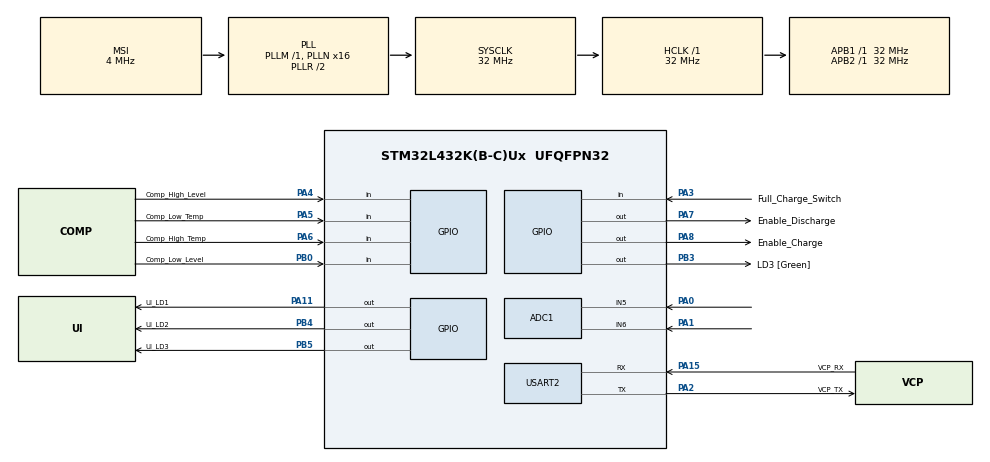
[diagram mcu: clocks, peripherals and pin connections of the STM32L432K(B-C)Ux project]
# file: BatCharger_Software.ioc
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ADC1.Channel-0\#ChannelRegularConversion=ADC_CHANNEL_5
ADC1.NbrOfConversionFlag=1
ADC1.OffsetNumber-0\#ChannelRegularConversion=ADC_OFFSET_NONE
ADC1.Rank-0\#ChannelRegularConversion=1
ADC1.SamplingTime-0\#ChannelRegularConversion=ADC_SAMPLETIME_2CYCLES_5
ADC1.master=1
Mcu.Family=STM32L4
Mcu.Name=STM32L432K(B-C)Ux
Mcu.Package=UFQFPN32
NVIC.PriorityGroup=NVIC_PRIORITYGROUP_4
NVIC.TIM2_IRQn=true\:0\:0\:false\:false\:true\:true\:true\:true
PA0.Signal=ADCx_IN5
PA1.Signal=ADCx_IN6
PA11.GPIO_Label=UI_LD1
PA11.GPIO_ModeDefaultOutputPP=GPIO_MODE_OUTPUT_OD
PA11.GPIO_PuPd=GPIO_NOPULL
PA11.PinState=GPIO_PIN_SET
PA11.Signal=GPIO_Output
PA13\ (JTMS-SWDIO).GPIO_Label=SWDIO
PA13\ (JTMS-SWDIO).Mode=Serial_Wire
PA13\ (JTMS-SWDIO).Signal=SYS_JTMS-SWDIO
PA14\ (JTCK-SWCLK).GPIO_Label=SWCLK
PA14\ (JTCK-SWCLK).Mode=Serial_Wire
PA14\ (JTCK-SWCLK).Signal=SYS_JTCK-SWCLK
PA15\ (JTDI).GPIO_Label=VCP_RX
PA15\ (JTDI).Mode=Asynchronous
PA15\ (JTDI).Signal=USART2_RX
PA2.GPIO_Label=VCP_TX
PA2.Mode=Asynchronous
PA2.Signal=USART2_TX
PA3.GPIO_Label=Full_Charge_Switch
PA3.Signal=GPIO_Input
PA4.GPIO_Label=Comp_High_Level
PA4.Signal=GPIO_Input
PA5.GPIO_Label=Comp_Low_Temp
PA5.Signal=GPIO_Input
PA6.GPIO_Label=Comp_High_Temp
PA6.Signal=GPIO_Input
PA7.GPIO_Label=Enable_Discharge
PA7.Signal=GPIO_Output
PA8.GPIO_Label=Enable_Charge
PA8.Signal=GPIO_Output
PB0.GPIO_Label=Comp_Low_Level
PB0.Signal=GPIO_Input
PB3\ (JTDO-TRACESWO).GPIO_Label=LD3 [Green]
PB3\ (JTDO-TRACESWO).PinState=GPIO_PIN_RESET
PB3\ (JTDO-TRACESWO).Signal=GPIO_Output
PB4\ (NJTRST).GPIO_Label=UI_LD2
PB4\ (NJTRST).GPIO_ModeDefaultOutputPP=GPIO_MODE_OUTPUT_OD
PB4\ (NJTRST).GPIO_PuPd=GPIO_NOPULL
PB4\ (NJTRST).PinState=GPIO_PIN_SET
PB4\ (NJTRST).Signal=GPIO_Output
PB5.GPIO_Label=UI_LD3
PB5.GPIO_ModeDefaultOutputPP=GPIO_MODE_OUTPUT_OD
PB5.GPIO_PuPd=GPIO_NOPULL
PB5.PinState=GPIO_PIN_SET
PB5.Signal=GPIO_Output
PC14-OSC32_IN\ (PC14).Mode=LSE-External-Oscillator
PC14-OSC32_IN\ (PC14).Signal=RCC_OSC32_IN
PC15-OSC32_OUT\ (PC15).Mode=LSE-External-Oscillator
PC15-OSC32_OUT\ (PC15).Signal=RCC_OSC32_OUT
ProjectManager.HeapSize=0x200
ProjectManager.StackSize=0x400
ProjectManager.TargetToolchain=STM32CubeIDE
RCC.ADCFreq_Value=32000000
RCC.AHBFreq_Value=32000000
RCC.APB1Freq_Value=32000000
RCC.APB1TimFreq_Value=32000000
RCC.APB2Freq_Value=32000000
RCC.APB2TimFreq_Value=32000000
RCC.CortexFreq_Value=32000000
RCC.HCLKFreq_Value=32000000
RCC.HSE_VALUE=8000000
RCC.HSI16_VALUE=16000000
RCC.HSI48_VALUE=48000000
RCC.HSI_VALUE=16000000
RCC.MSI_VALUE=4000000
RCC.PLLMUL=RCC_PLLMUL_4
RCC.PLLN=16
RCC.PLLSAI1N=16
RCC.SYSCLKFreq_VALUE=32000000
RCC.SYSCLKSource=RCC_SYSCLKSOURCE_PLLCLK
RCC.USBFreq_Value=32000000
RCC.VCOOutputFreq_Value=64000000
SH.ADCx_IN5.0=ADC1_IN5,IN5-Single-Ended
SH.ADCx_IN6.0=ADC1_IN6,IN6-Single-Ended
TIM2.Period=250
TIM2.Prescaler=32000
USART2.VirtualMode-Asynchronous=VM_ASYNC
VP_TIM2_VS_ClockSourceINT.Mode=Internal
board=NUCLEO-L432KC

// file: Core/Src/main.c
/* USER CODE BEGIN Header */
/**
  ******************************************************************************
  * @file           : main.c
  * @brief          : Main program body
  ******************************************************************************
  * @attention
  *
  * Copyright (c) 2026 STMicroelectronics.
  * All rights reserved.
  *
  * This software is licensed under terms that can be found in the LICENSE file
  * in the root directory of this software component.
  * If no LICENSE file comes with this software, it is provided AS-IS.
  *
  ******************************************************************************
  */
/* USER CODE END Header */
#include "main.h"

/* USER CODE BEGIN PD */

// Define pour le debug
#define Debug

#define VREF 3300 // Voltage Reference in mV
#define VREF_FACTOR 2650

// For the stockage purpose
#define STOCK_VOLTAGE 3600 // Sotckage voltage in MV
#define TRESHOLD_LIMIT 100 // Variable used for hysteresis

// Used for full charge
#define FULL_CHARGE_VOLTAGE 4100

// Used for Coherence Detection in voltage
#define HIGH_LVL_VOLTAGE 4200
#define LOW_LVL_VOLTAGE 4200
#define ADC_MARGIN 100

// Used for coherence detection in temperature
#define HIGH_LVL_TEMP 2550
#define LOW_LVL_TEMP 999

/* USER CODE END PD */

/* USER CODE BEGIN PM */
#define DisSwitch !HAL_GPIO_ReadPin(Full_Charge_Switch_GPIO_Port, Full_Charge_Switch_Pin)

#define HIGH_VOTLAGE !HAL_GPIO_ReadPin(Comp_High_Level_GPIO_Port, Comp_High_Level_Pin)
#define LOW_VOLTAGE !HAL_GPIO_ReadPin(Comp_Low_Level_GPIO_Port, Comp_Low_Level_Pin)
#define HIGH_TEMP !HAL_GPIO_ReadPin(Comp_High_Temp_GPIO_Port, Comp_High_Temp_Pin)
#define LOW_TEMP !HAL_GPIO_ReadPin(Comp_Low_Temp_GPIO_Port, Comp_Low_Temp_Pin)

/* USER CODE END PM */

ADC_HandleTypeDef hadc1;

TIM_HandleTypeDef htim2;

UART_HandleTypeDef huart2;

/* USER CODE BEGIN PV */
uint32_t vBat; // Battery Voltage
convertedCH5;

typedef enum {
	IDLE,
	DISCHARGE,
	CHRG_ERROR,
	CHARGE
}ChargeCtrlStates;

typedef enum {
	BLINK,
	ON,
	OFF
}LED_States;

LED_States ST_LD1 = OFF;
LED_States ST_LD2 = OFF;
LED_States ST_LD3 = OFF;

ChargeCtrlStates ChargeCtrlState = IDLE;
ChargeCtrlStates PrevChargeCtrlState = DISCHARGE;

/* USER CODE END PV */

void SystemClock_Config(void);
static void MX_GPIO_Init(void);
static void MX_USART2_UART_Init(void);
static void MX_ADC1_Init(void);
static void MX_TIM2_Init(void);

/* USER CODE BEGIN 0 */
void HAL_TIM_PeriodElapsedCallback(TIM_HandleTypeDef *htim){
	if(ST_LD1 == BLINK) HAL_GPIO_TogglePin(UI_LD1_GPIO_Port, UI_LD1_Pin);
	if(ST_LD2 == BLINK) HAL_GPIO_TogglePin(UI_LD2_GPIO_Port, UI_LD2_Pin);
	if(ST_LD3 == BLINK) HAL_GPIO_TogglePin(UI_LD3_GPIO_Port, UI_LD3_Pin);
}

/* USER CODE END 0 */

int main(void)
{

  /* MCU Configuration--------------------------------------------------------*/

  /* Reset of all peripherals, Initializes the Flash interface and the Systick. */
  HAL_Init();

  /* Configure the system clock */
  SystemClock_Config();

  /* Initialize all configured peripherals */
  MX_GPIO_Init();
  MX_USART2_UART_Init();
  MX_ADC1_Init();
  MX_TIM2_Init();
  /* USER CODE BEGIN 2 */
  HAL_TIM_Base_Start_IT(&htim2);
  ST_LD3 = OFF;

  /* USER CODE END 2 */

  /* Infinite loop */
  /* USER CODE BEGIN WHILE */
  while (1)
  {

	  	uint32_t adc_value_CH5;
	  	uint32_t adc_value_CH6;

	  	ADC_ChannelConfTypeDef sConfig = {0};
	  	sConfig.Channel = ADC_CHANNEL_5; //First we will use channel 5
	  	sConfig.Rank = ADC_REGULAR_RANK_1; // Always rank 1 for single conversions
	  	sConfig.SamplingTime = ADC_SAMPLETIME_24CYCLES_5; // Example sampling time
	  	sConfig.SingleDiff = ADC_SINGLE_ENDED;
	  	sConfig.OffsetNumber = ADC_OFFSET_NONE;
	  	sConfig.Offset = 0;

	  	if (HAL_ADC_ConfigChannel(&hadc1, &sConfig) != HAL_OK)
	  	{
	  	//Error_Handler();
	  	}

	  	HAL_ADC_Start(&hadc1); // Start ADC
	  	HAL_ADC_PollForConversion(&hadc1, 100); // Wait for conversion
	  	adc_value_CH5 = HAL_ADC_GetValue(&hadc1); // Read the result
	  	HAL_ADC_Stop(&hadc1); // Stop ADC

	  	sConfig.Channel = ADC_CHANNEL_6;	//Then we will use channel 5
	  	if (HAL_ADC_ConfigChannel(&hadc1, &sConfig) != HAL_OK)
	  	{
	  	//Error_Handler();
	  	}

	  	HAL_ADC_Start(&hadc1); // Start ADC
	  	HAL_ADC_PollForConversion(&hadc1, 100); // Wait for conversion
	  	adc_value_CH6 = HAL_ADC_GetValue(&hadc1); // Read the result
	  	HAL_ADC_Stop(&hadc1); // Stop ADC

	  	convertedCH5 = (adc_value_CH5*VREF)/4096;
	  	vBat = (adc_value_CH6*VREF)/VREF_FACTOR;

	  	char msg[100];

		#ifdef DebugV

			sprintf(msg, "Temperature Voltage %ld mV \r\n", convertedCH5);
			HAL_UART_Transmit(&huart2, (uint8_t*)msg, strlen(msg), HAL_MAX_DELAY);

			sprintf(msg, "VBAT value is %ld mV \r\n", vBat);
			HAL_UART_Transmit(&huart2, (uint8_t*)msg, strlen(msg), HAL_MAX_DELAY);
		#endif

	  	// ------------ Charge Control ------------
	  	switch(ChargeCtrlState){
	  		case IDLE :
	  			if(vBat > STOCK_VOLTAGE+TRESHOLD_LIMIT && DisSwitch) ChargeCtrlState = DISCHARGE;
	  			else if (vBat < FULL_CHARGE_VOLTAGE-TRESHOLD_LIMIT && !DisSwitch) ChargeCtrlState = CHARGE;
	  			else if (vBat < STOCK_VOLTAGE-TRESHOLD_LIMIT && DisSwitch) ChargeCtrlState = CHARGE;
	  		break;

	  		case DISCHARGE :
	  			if(vBat < STOCK_VOLTAGE) ChargeCtrlState = IDLE;
	  		break;

	  		case CHRG_ERROR:

			break;

	  		case CHARGE:
	  			if(vBat > FULL_CHARGE_VOLTAGE) ChargeCtrlState = IDLE;
	  			else if (vBat > STOCK_VOLTAGE && DisSwitch) ChargeCtrlState = IDLE;
	  		break;
	  	}
	  	if(ChargeCtrlState != PrevChargeCtrlState){
	  		PrevChargeCtrlState = ChargeCtrlState;
	  		switch(ChargeCtrlState){
				case IDLE :
					HAL_GPIO_WritePin(Enable_Charge_GPIO_Port, Enable_Charge_Pin, 0);
					HAL_GPIO_WritePin(Enable_Discharge_GPIO_Port, Enable_Discharge_Pin, 0);

					ST_LD1 = OFF;
					ST_LD2 = ON;

					#ifdef Debug
						sprintf(msg, "ChargeCtrlState : IDLE\n");
					#endif
				break;

				case DISCHARGE :
					HAL_GPIO_WritePin(Enable_Charge_GPIO_Port, Enable_Charge_Pin, 0);
					HAL_GPIO_WritePin(Enable_Discharge_GPIO_Port, Enable_Discharge_Pin, 1);

					ST_LD2 = OFF;
					ST_LD1 = BLINK;

					#ifdef Debug
						sprintf(msg, "ChargeCtrlState : DISCHARGE\n");
					#endif
				break;

				case CHRG_ERROR:
					HAL_GPIO_WritePin(Enable_Charge_GPIO_Port, Enable_Charge_Pin, 0);
					HAL_GPIO_WritePin(Enable_Discharge_GPIO_Port, Enable_Discharge_Pin, 0);

					ST_LD2 = OFF;
					ST_LD1 = OFF;

					#ifdef Debug
						sprintf(msg, "ChargeCtrlState : ERROR\n");
					#endif
				break;

				case CHARGE:
					HAL_GPIO_WritePin(Enable_Charge_GPIO_Port, Enable_Charge_Pin, 1);
					HAL_GPIO_WritePin(Enable_Discharge_GPIO_Port, Enable_Discharge_Pin, 0);

					ST_LD2 = OFF;
					ST_LD1 = ON;

					#ifdef Debug
						sprintf(msg, "ChargeCtrlState : CHARGE\n");
					#endif
				break;
			}
	  	}

	  	//HAL_GPIO_WritePin(Enable_Charge_GPIO_Port, Enable_Charge_Pin, 1);

	// -------------------- LED 1 & 3 CTRL ---------------
	  	if(ST_LD1 == OFF) HAL_GPIO_WritePin(UI_LD1_GPIO_Port, UI_LD1_Pin, 1);
	  	else if (ST_LD1 == ON) HAL_GPIO_WritePin(UI_LD1_GPIO_Port, UI_LD1_Pin, 0);

	  	if(ST_LD2 == OFF) HAL_GPIO_WritePin(UI_LD2_GPIO_Port, UI_LD2_Pin, 1);
		else if (ST_LD2 == ON) HAL_GPIO_WritePin(UI_LD2_GPIO_Port, UI_LD2_Pin, 0);

	  	if(ST_LD3 == OFF) HAL_GPIO_WritePin(UI_LD3_GPIO_Port, UI_LD3_Pin, 1);
		else if (ST_LD3 == ON) HAL_GPIO_WritePin(UI_LD3_GPIO_Port, UI_LD3_Pin, 0);

	 // -------------------- Error  ---------------
	  	if(HIGH_VOTLAGE || LOW_VOLTAGE || HIGH_TEMP || LOW_TEMP) ST_LD3 = BLINK;
	  	else ST_LD3 = OFF;

    /* USER CODE END WHILE */

  }
}

void SystemClock_Config(void)
{
  RCC_OscInitTypeDef RCC_OscInitStruct = {0};
  RCC_ClkInitTypeDef RCC_ClkInitStruct = {0};

  /** Configure the main internal regulator output voltage
  */
  if (HAL_PWREx_ControlVoltageScaling(PWR_REGULATOR_VOLTAGE_SCALE1) != HAL_OK)
  {
    Error_Handler();
  }

  /** Configure LSE Drive Capability
  */
  HAL_PWR_EnableBkUpAccess();
  __HAL_RCC_LSEDRIVE_CONFIG(RCC_LSEDRIVE_LOW);

  /** Initializes the RCC Oscillators according to the specified parameters
  * in the RCC_OscInitTypeDef structure.
  */
  RCC_OscInitStruct.OscillatorType = RCC_OSCILLATORTYPE_LSE|RCC_OSCILLATORTYPE_MSI;
  RCC_OscInitStruct.LSEState = RCC_LSE_ON;
  RCC_OscInitStruct.MSIState = RCC_MSI_ON;
  RCC_OscInitStruct.MSICalibrationValue = 0;
  RCC_OscInitStruct.MSIClockRange = RCC_MSIRANGE_6;
  RCC_OscInitStruct.PLL.PLLState = RCC_PLL_ON;
  RCC_OscInitStruct.PLL.PLLSource = RCC_PLLSOURCE_MSI;
  RCC_OscInitStruct.PLL.PLLM = 1;
  RCC_OscInitStruct.PLL.PLLN = 16;
  RCC_OscInitStruct.PLL.PLLP = RCC_PLLP_DIV7;
  RCC_OscInitStruct.PLL.PLLQ = RCC_PLLQ_DIV2;
  RCC_OscInitStruct.PLL.PLLR = RCC_PLLR_DIV2;
  if (HAL_RCC_OscConfig(&RCC_OscInitStruct) != HAL_OK)
  {
    Error_Handler();
  }

  /** Initializes the CPU, AHB and APB buses clocks
  */
  RCC_ClkInitStruct.ClockType = RCC_CLOCKTYPE_HCLK|RCC_CLOCKTYPE_SYSCLK
                              |RCC_CLOCKTYPE_PCLK1|RCC_CLOCKTYPE_PCLK2;
  RCC_ClkInitStruct.SYSCLKSource = RCC_SYSCLKSOURCE_PLLCLK;
  RCC_ClkInitStruct.AHBCLKDivider = RCC_SYSCLK_DIV1;
  RCC_ClkInitStruct.APB1CLKDivider = RCC_HCLK_DIV1;
  RCC_ClkInitStruct.APB2CLKDivider = RCC_HCLK_DIV1;

  if (HAL_RCC_ClockConfig(&RCC_ClkInitStruct, FLASH_LATENCY_1) != HAL_OK)
  {
    Error_Handler();
  }

  /** Enable MSI Auto calibration
  */
  HAL_RCCEx_EnableMSIPLLMode();
}

static void MX_ADC1_Init(void)
{

  ADC_ChannelConfTypeDef sConfig = {0};

  /** Common config
  */
  hadc1.Instance = ADC1;
  hadc1.Init.ClockPrescaler = ADC_CLOCK_ASYNC_DIV1;
  hadc1.Init.Resolution = ADC_RESOLUTION_12B;
  hadc1.Init.DataAlign = ADC_DATAALIGN_RIGHT;
  hadc1.Init.ScanConvMode = ADC_SCAN_DISABLE;
  hadc1.Init.EOCSelection = ADC_EOC_SINGLE_CONV;
  hadc1.Init.LowPowerAutoWait = DISABLE;
  hadc1.Init.ContinuousConvMode = DISABLE;
  hadc1.Init.NbrOfConversion = 1;
  hadc1.Init.DiscontinuousConvMode = DISABLE;
  hadc1.Init.ExternalTrigConv = ADC_SOFTWARE_START;
  hadc1.Init.ExternalTrigConvEdge = ADC_EXTERNALTRIGCONVEDGE_NONE;
  hadc1.Init.DMAContinuousRequests = DISABLE;
  hadc1.Init.Overrun = ADC_OVR_DATA_PRESERVED;
  hadc1.Init.OversamplingMode = DISABLE;
  if (HAL_ADC_Init(&hadc1) != HAL_OK)
  {
    Error_Handler();
  }

  /** Configure Regular Channel
  */
  sConfig.Channel = ADC_CHANNEL_5;
  sConfig.Rank = ADC_REGULAR_RANK_1;
  sConfig.SamplingTime = ADC_SAMPLETIME_2CYCLES_5;
  sConfig.SingleDiff = ADC_SINGLE_ENDED;
  sConfig.OffsetNumber = ADC_OFFSET_NONE;
  sConfig.Offset = 0;
  if (HAL_ADC_ConfigChannel(&hadc1, &sConfig) != HAL_OK)
  {
    Error_Handler();
  }

}

static void MX_TIM2_Init(void)
{

  TIM_ClockConfigTypeDef sClockSourceConfig = {0};
  TIM_MasterConfigTypeDef sMasterConfig = {0};

  htim2.Instance = TIM2;
  htim2.Init.Prescaler = 32000;
  htim2.Init.CounterMode = TIM_COUNTERMODE_UP;
  htim2.Init.Period = 250;
  htim2.Init.ClockDivision = TIM_CLOCKDIVISION_DIV1;
  htim2.Init.AutoReloadPreload = TIM_AUTORELOAD_PRELOAD_DISABLE;
  if (HAL_TIM_Base_Init(&htim2) != HAL_OK)
  {
    Error_Handler();
  }
  sClockSourceConfig.ClockSource = TIM_CLOCKSOURCE_INTERNAL;
  if (HAL_TIM_ConfigClockSource(&htim2, &sClockSourceConfig) != HAL_OK)
  {
    Error_Handler();
  }
  sMasterConfig.MasterOutputTrigger = TIM_TRGO_RESET;
  sMasterConfig.MasterSlaveMode = TIM_MASTERSLAVEMODE_DISABLE;
  if (HAL_TIMEx_MasterConfigSynchronization(&htim2, &sMasterConfig) != HAL_OK)
  {
    Error_Handler();
  }

}

static void MX_USART2_UART_Init(void)
{

  huart2.Instance = USART2;
  huart2.Init.BaudRate = 115200;
  huart2.Init.WordLength = UART_WORDLENGTH_8B;
  huart2.Init.StopBits = UART_STOPBITS_1;
  huart2.Init.Parity = UART_PARITY_NONE;
  huart2.Init.Mode = UART_MODE_TX_RX;
  huart2.Init.HwFlowCtl = UART_HWCONTROL_NONE;
  huart2.Init.OverSampling = UART_OVERSAMPLING_16;
  huart2.Init.OneBitSampling = UART_ONE_BIT_SAMPLE_DISABLE;
  huart2.AdvancedInit.AdvFeatureInit = UART_ADVFEATURE_NO_INIT;
  if (HAL_UART_Init(&huart2) != HAL_OK)
  {
    Error_Handler();
  }

}

static void MX_GPIO_Init(void)
{
  GPIO_InitTypeDef GPIO_InitStruct = {0};

  /* GPIO Ports Clock Enable */
  __HAL_RCC_GPIOC_CLK_ENABLE();
  __HAL_RCC_GPIOA_CLK_ENABLE();
  __HAL_RCC_GPIOB_CLK_ENABLE();

  /*Configure GPIO pin Output Level */
  HAL_GPIO_WritePin(GPIOA, Enable_Discharge_Pin|Enable_Charge_Pin, GPIO_PIN_RESET);

  /*Configure GPIO pin Output Level */
  HAL_GPIO_WritePin(UI_LD1_GPIO_Port, UI_LD1_Pin, GPIO_PIN_SET);

  /*Configure GPIO pin Output Level */
  HAL_GPIO_WritePin(LD3_GPIO_Port, LD3_Pin, GPIO_PIN_RESET);

  /*Configure GPIO pin Output Level */
  HAL_GPIO_WritePin(GPIOB, UI_LD2_Pin|UI_LD3_Pin, GPIO_PIN_SET);

  /*Configure GPIO pins : Full_Charge_Switch_Pin Comp_High_Level_Pin Comp_Low_Temp_Pin Comp_High_Temp_Pin */
  GPIO_InitStruct.Pin = Full_Charge_Switch_Pin|Comp_High_Level_Pin|Comp_Low_Temp_Pin|Comp_High_Temp_Pin;
  GPIO_InitStruct.Mode = GPIO_MODE_INPUT;
  GPIO_InitStruct.Pull = GPIO_NOPULL;
  HAL_GPIO_Init(GPIOA, &GPIO_InitStruct);

  /*Configure GPIO pins : Enable_Discharge_Pin Enable_Charge_Pin */
  GPIO_InitStruct.Pin = Enable_Discharge_Pin|Enable_Charge_Pin;
  GPIO_InitStruct.Mode = GPIO_MODE_OUTPUT_PP;
  GPIO_InitStruct.Pull = GPIO_NOPULL;
  GPIO_InitStruct.Speed = GPIO_SPEED_FREQ_LOW;
  HAL_GPIO_Init(GPIOA, &GPIO_InitStruct);

  /*Configure GPIO pin : Comp_Low_Level_Pin */
  GPIO_InitStruct.Pin = Comp_Low_Level_Pin;
  GPIO_InitStruct.Mode = GPIO_MODE_INPUT;
  GPIO_InitStruct.Pull = GPIO_NOPULL;
  HAL_GPIO_Init(Comp_Low_Level_GPIO_Port, &GPIO_InitStruct);

  /*Configure GPIO pin : UI_LD1_Pin */
  GPIO_InitStruct.Pin = UI_LD1_Pin;
  GPIO_InitStruct.Mode = GPIO_MODE_OUTPUT_OD;
  GPIO_InitStruct.Pull = GPIO_NOPULL;
  GPIO_InitStruct.Speed = GPIO_SPEED_FREQ_LOW;
  HAL_GPIO_Init(UI_LD1_GPIO_Port, &GPIO_InitStruct);

  /*Configure GPIO pin : LD3_Pin */
  GPIO_InitStruct.Pin = LD3_Pin;
  GPIO_InitStruct.Mode = GPIO_MODE_OUTPUT_PP;
  GPIO_InitStruct.Pull = GPIO_NOPULL;
  GPIO_InitStruct.Speed = GPIO_SPEED_FREQ_LOW;
  HAL_GPIO_Init(LD3_GPIO_Port, &GPIO_InitStruct);

  /*Configure GPIO pins : UI_LD2_Pin UI_LD3_Pin */
  GPIO_InitStruct.Pin = UI_LD2_Pin|UI_LD3_Pin;
  GPIO_InitStruct.Mode = GPIO_MODE_OUTPUT_OD;
  GPIO_InitStruct.Pull = GPIO_NOPULL;
  GPIO_InitStruct.Speed = GPIO_SPEED_FREQ_LOW;
  HAL_GPIO_Init(GPIOB, &GPIO_InitStruct);

}

void Error_Handler(void)
{
  __disable_irq();
  while (1)
  {
  }
}
